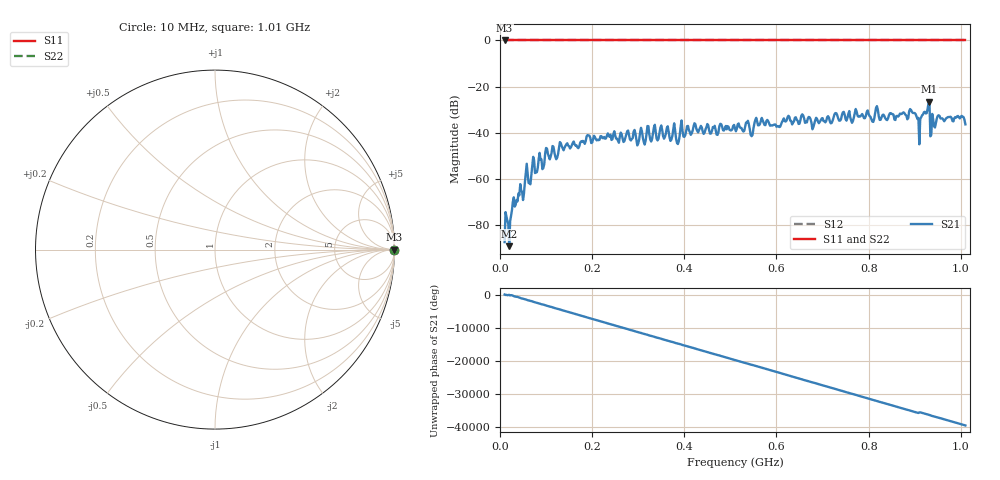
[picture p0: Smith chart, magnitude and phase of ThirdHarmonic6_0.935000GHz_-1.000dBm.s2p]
! 8/16/2025 6:27:44 AM
! C:\ANRITSUVNA\TEMP\TEMP.S2P
! CHANNEL.1
! TR.MEASUREMENT
! RAW.DATA
! RF.CORRECTION.OFF
! AVERAGING.OFF
! IF.BANDWIDTH: 5KHZ
! SWEEPTYPE:  FREQ.SWEEP(Linear)
! Reference Plane Port Info
! PORT:  PORT1  PORT2
! DISTANCE:  0  m  0  m
! TIME:  0  s  0  s
! PHASE.OFFSET:  0  deg.  0  deg.
! LOSS:  0  dB  0  dB
! REF.LOSS:  0  dB  0  dB
! REF.FREQ:  0  Hz  0  Hz
! Power Info
! POWER:  -20  dBm  -20  dBm
! EFF.POWER:  -20  dBm  -20  dBm
! SOURCE.ATTEN:  0  dB  0  dB
! TEST.ATTEN:  0  dB  0  dB
# GHZ S RI R 50.0
! FREQ.GHZ  S11RE  S11IM  S21RE  S21IM  S12RE  S12IM  S22RE  S22IM
!; PortSelection: Port_12
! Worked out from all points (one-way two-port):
!   501 points, 10 MHz to 1.01 GHz, reference 50 ohm
!   highest |S21| = -26.58 dB at 932 MHz (marker M1); lowest = -89.2 dB at 20 MHz (marker M2)
!   lowest |S11| = 0.0 dB at 10 MHz (marker M3)
!   |S11| at or under -10 dB: nowhere
!   |S22| runs from 0.0 to 0.0 dB; largest |S21 - S12| = 1
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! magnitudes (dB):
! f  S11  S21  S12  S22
! 10 MHz  0.0  -87.4  0.0  0.0
! 20 MHz  0.0  -89.2  0.0  0.0
! 72 MHz  0.0  -50.4  0.0  0.0
! 102 MHz  0.0  -46.9  0.0  0.0
! 178 MHz  0.0  -44.0  0.0  0.0
! 344 MHz  0.0  -42.6  0.0  0.0
! 510 MHz  0.0  -38.1  0.0  0.0
! 536 MHz  0.0  -35.6  0.0  0.0
! 546 MHz  0.0  -41.5  0.0  0.0
! 556 MHz  0.0  -33.5  0.0  0.0
! 604 MHz  0.0  -37.1  0.0  0.0
! 656 MHz  0.0  -32.0  0.0  0.0
! 678 MHz  0.0  -38.5  0.0  0.0
! 728 MHz  0.0  -31.5  0.0  0.0
! 844 MHz  0.0  -32.5  0.0  0.0
! 892 MHz  0.0  -30.1  0.0  0.0
! 910 MHz  0.0  -45.0  0.0  0.0
! 928 MHz  0.0  -29.7  0.0  0.0
! 932 MHz  0.0  -26.6  0.0  0.0
! 938 MHz  0.0  -31.8  0.0  0.0
! 952 MHz  0.0  -32.4  0.0  0.0
! 1.01 GHz  0.0  -36.4  0.0  0.0
